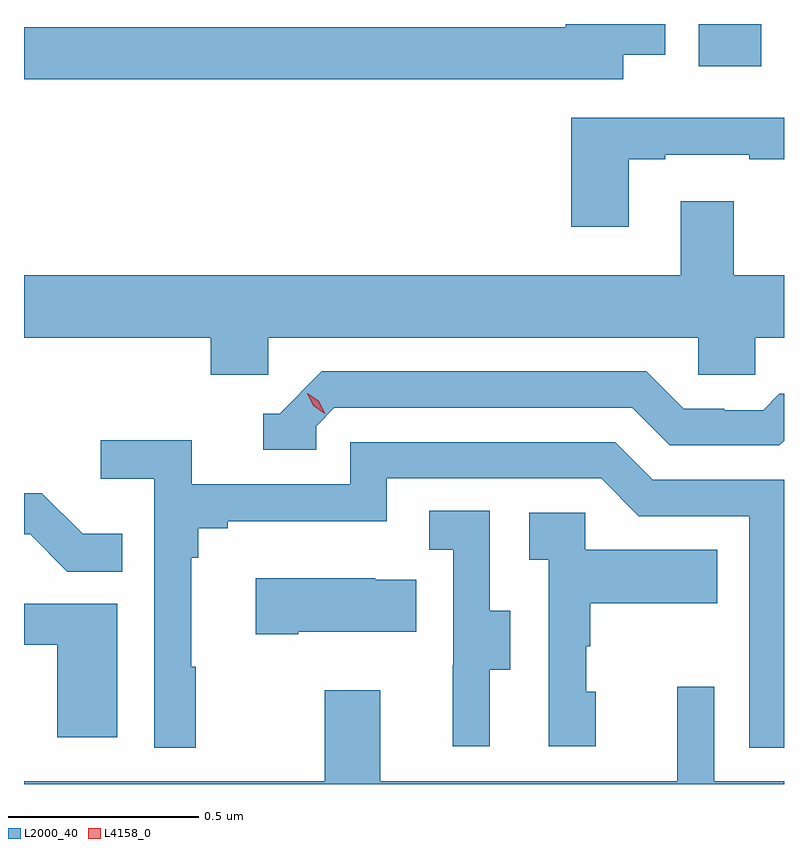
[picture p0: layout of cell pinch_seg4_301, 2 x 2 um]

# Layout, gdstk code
import gdstk
lib = gdstk.Library(unit=1e-6, precision=1e-09)
def R(c, l, rs):  # rectangles x0, y0, x1, y1
    for r in rs: c.add(gdstk.rectangle(r[:2], r[2:], *l))
def P(c, l, *ps):  # polygons
    for p in ps: c.add(gdstk.Polygon(p, *l))
L2000_40 = (2000, 40)
L4158_0 = (4158, 0)

pinch_seg4_301 = lib.new_cell('pinch_seg4_301')
R(pinch_seg4_301, L2000_40, [(926.717,800.198,926.881,800.309)])
P(pinch_seg4_301, L2000_40, [(926.518,800.228),(926.629,800.228),(926.629,800.309),(926.366,800.309),(926.366,800.3),(924.941,800.3),(924.941,800.164),(926.518,800.164)],
  [(926.533,799.953),(926.629,799.953),(926.629,799.965),(926.849,799.965),(926.849,799.953),(926.941,799.953),(926.941,800.062),(926.381,800.062),(926.381,799.776),(926.533,799.776)],
  [(925.584,799.484),(926.715,799.484),(926.715,799.386),(926.865,799.386),(926.865,799.484),(926.941,799.484),(926.941,799.648),(926.809,799.648),(926.809,799.843),(926.669,799.843),(926.669,799.648),(924.941,799.648),(924.941,799.484),(925.433,799.484),(925.433,799.386),(925.584,799.386)],
  [(925.71,799.251),(925.758,799.299),(926.541,799.299),(926.64,799.2),(926.929,799.2),(926.941,799.212),(926.941,799.336),(926.929,799.336),(926.887,799.293),(926.784,799.293),(926.784,799.296),(926.677,799.296),(926.578,799.395),(925.725,799.395),(925.614,799.284),(925.571,799.284),(925.571,799.188),(925.71,799.188)],
  [(925.393,798.617),(925.381,798.617),(925.381,798.905),(925.4,798.905),(925.4,798.982),(925.477,798.982),(925.477,799.001),(925.896,799.001),(925.896,799.113),(926.46,799.113),(926.559,799.014),(926.85,799.014),(926.85,798.405),(926.941,798.405),(926.941,799.11),(926.596,799.11),(926.497,799.209),(925.8,799.209),(925.8,799.098),(925.382,799.098),(925.382,799.214),(925.143,799.214),(925.143,799.112),(925.284,799.112),(925.284,798.405),(925.393,798.405)],
  [(925.199,798.967),(925.095,798.967),(924.988,799.074),(924.941,799.074),(924.941,798.966),(924.957,798.966),(925.055,798.868),(925.199,798.868)],
  [(926.167,798.61),(926.221,798.61),(926.221,798.765),(926.166,798.765),(926.166,799.028),(926.007,799.028),(926.007,798.925),(926.07,798.925),(926.07,798.621),(926.069,798.621),(926.069,798.408),(926.167,798.408)],
  [(926.446,798.552),(926.421,798.552),(926.421,798.671),(926.431,798.671),(926.431,798.785),(926.765,798.785),(926.765,798.925),(926.418,798.925),(926.418,799.023),(926.271,799.023),(926.271,798.899),(926.322,798.899),(926.322,798.408),(926.446,798.408)],
  [(925.663,798.71),(925.973,798.71),(925.973,798.847),(925.865,798.847),(925.865,798.85),(925.551,798.85),(925.551,798.703),(925.663,798.703)],
  [(925.186,798.783),(924.941,798.783),(924.941,798.675),(925.028,798.675),(925.028,798.432),(925.186,798.432)],
  [(926.941,798.316),(926.757,798.316),(926.757,798.565),(926.66,798.565),(926.66,798.316),(925.879,798.316),(925.879,798.556),(925.732,798.556),(925.732,798.316),(924.941,798.316),(924.941,798.309),(926.941,798.309)])
P(pinch_seg4_301, L4158_0, [(925.733,799.284),(925.702,799.304),(925.686,799.336),(925.686,799.337),(925.686,799.337),(925.717,799.317),(925.734,799.284),(925.734,799.284)])

lib.write_gds('pinch_seg4_301.gds')
